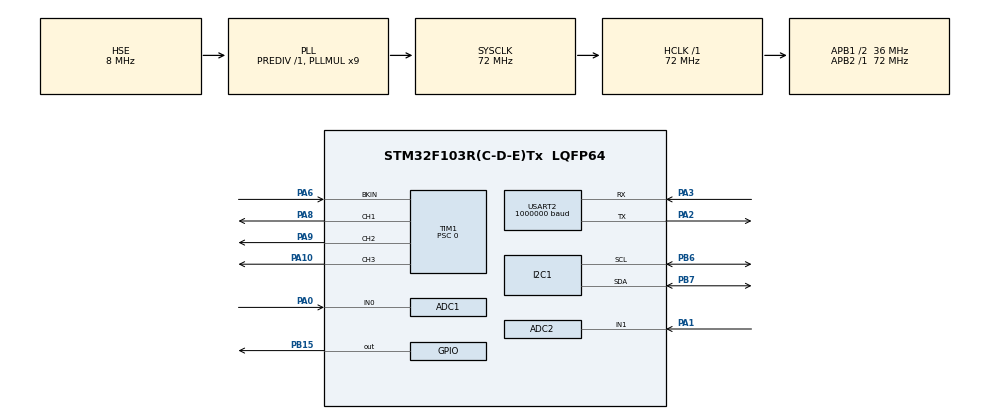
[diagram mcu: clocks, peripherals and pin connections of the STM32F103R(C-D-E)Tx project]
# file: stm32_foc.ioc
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ADC1.Channel-13\#ChannelInjectedConversion=ADC_CHANNEL_0
ADC1.Channel-IN0=ADC_CHANNEL_0
ADC1.ContinuousConvMode=DISABLE
ADC1.DataAlign=ADC_DATAALIGN_RIGHT
ADC1.DiscontinuousConvMode=DISABLE
ADC1.EnableInjectedConversion=ENABLE
ADC1.EnableRegularConversion=DISABLE
ADC1.ExternalTrigInjecConv=ADC_EXTERNALTRIGINJECCONV_T1_TRGO
ADC1.InjNumberOfConversion=1
ADC1.InjectedOffset-13\#ChannelInjectedConversion=0
ADC1.InjectedRank-13\#ChannelInjectedConversion=1
ADC1.Mode=ADC_DUALMODE_INJECSIMULT
ADC1.SamplingTime-13\#ChannelInjectedConversion=ADC_SAMPLETIME_1CYCLE_5
ADC1.ScanConvMode=ADC_SCAN_DISABLE
ADC1.master=1
ADC2.Channel-2\#ChannelInjectedConversion=ADC_CHANNEL_1
ADC2.ContinuousConvMode=DISABLE
ADC2.EnableInjectedConversion=ENABLE
ADC2.EnableRegularConversion=DISABLE
ADC2.InjNumberOfConversion=1
ADC2.InjectedOffset-2\#ChannelInjectedConversion=0
ADC2.InjectedRank-2\#ChannelInjectedConversion=1
ADC2.Mode=ADC_DUALMODE_INJECSIMULT
ADC2.SamplingTime-2\#ChannelInjectedConversion=ADC_SAMPLETIME_1CYCLE_5
I2C1.I2C_Mode=I2C_Fast
Mcu.Family=STM32F1
Mcu.Name=STM32F103R(C-D-E)Tx
Mcu.Package=LQFP64
Mcu.UserConstants=pwm_counter_period,(72*1000000/motor_pwm_freq);speed_calc_freq,motor_speed_calc_freq;angle_calc_freq,1300
NVIC.PriorityGroup=NVIC_PRIORITYGROUP_4
NVIC.TIM6_IRQn=true\:1\:0\:true\:false\:true\:true\:true\:true
NVIC.TIM7_IRQn=true\:1\:0\:true\:false\:true\:true\:true\:true
PA0-WKUP.Signal=ADCx_IN0
PA1.Signal=ADCx_IN1
PA10.Signal=S_TIM1_CH3
PA13.Mode=Serial_Wire
PA13.Signal=SYS_JTMS-SWDIO
PA14.Mode=Serial_Wire
PA14.Signal=SYS_JTCK-SWCLK
PA2.Mode=Asynchronous
PA2.Signal=USART2_TX
PA3.Mode=Asynchronous
PA3.Signal=USART2_RX
PA6.Mode=Activate-Break-Input
PA6.Signal=TIM1_BKIN
PA8.Signal=S_TIM1_CH1
PA9.Signal=S_TIM1_CH2
PB15.Signal=GPIO_Output
PB6.Mode=I2C
PB6.Signal=I2C1_SCL
PB7.Mode=I2C
PB7.Signal=I2C1_SDA
PD0-OSC_IN.Mode=HSE-External-Oscillator
PD0-OSC_IN.Signal=RCC_OSC_IN
PD1-OSC_OUT.Mode=HSE-External-Oscillator
PD1-OSC_OUT.Signal=RCC_OSC_OUT
ProjectManager.HeapSize=0x800
ProjectManager.StackSize=0x1000
ProjectManager.TargetToolchain=CMake
RCC.ADCPresc=RCC_ADCPCLK2_DIV6
RCC.AHBFreq_Value=72000000
RCC.APB1CLKDivider=RCC_HCLK_DIV2
RCC.APB1Freq_Value=36000000
RCC.APB1TimFreq_Value=72000000
RCC.APB2Freq_Value=72000000
RCC.APB2TimFreq_Value=72000000
RCC.HCLKFreq_Value=72000000
RCC.PLLMUL=RCC_PLL_MUL9
RCC.PLLSourceVirtual=RCC_PLLSOURCE_HSE
RCC.SYSCLKFreq_VALUE=72000000
RCC.SYSCLKSource=RCC_SYSCLKSOURCE_PLLCLK
RCC.USBFreq_Value=72000000
SH.ADCx_IN0.0=ADC1_IN0,IN0
SH.ADCx_IN1.0=ADC2_IN1,IN1
SH.S_TIM1_CH1.0=TIM1_CH1,PWM Generation1 CH1
SH.S_TIM1_CH2.0=TIM1_CH2,PWM Generation2 CH2
SH.S_TIM1_CH3.0=TIM1_CH3,PWM Generation3 CH3
STMicroelectronics.X-CUBE-ALGOBUILD.1.4.0.LibraryCcDSPOoLibraryJjDSPOoLibrary=true
TIM1.AutoReloadPreload=TIM_AUTORELOAD_PRELOAD_ENABLE
TIM1.AutomaticOutput=TIM_AUTOMATICOUTPUT_DISABLE
TIM1.BreakPolarity=TIM_BREAKPOLARITY_LOW
TIM1.BreakState=TIM_BREAK_DISABLE
TIM1.Channel-PWM\ Generation1\ CH1=TIM_CHANNEL_1
TIM1.Channel-PWM\ Generation2\ CH2=TIM_CHANNEL_2
TIM1.Channel-PWM\ Generation3\ CH3=TIM_CHANNEL_3
TIM1.ClockDivision=TIM_CLOCKDIVISION_DIV1
TIM1.CounterMode=TIM_COUNTERMODE_CENTERALIGNED3
TIM1.LockLevel=TIM_LOCKLEVEL_1
TIM1.OC1Preload_PWM=ENABLE
TIM1.OC2Preload_PWM=ENABLE
TIM1.OC3Preload_PWM=ENABLE
TIM1.OCIdleState_1=TIM_OCIDLESTATE_RESET
TIM1.OCIdleState_2=TIM_OCIDLESTATE_RESET
TIM1.OCIdleState_3=TIM_OCIDLESTATE_RESET
TIM1.OCMode_PWM-PWM\ Generation1\ CH1=TIM_OCMODE_PWM1
TIM1.OCMode_PWM-PWM\ Generation2\ CH2=TIM_OCMODE_PWM1
TIM1.OCMode_PWM-PWM\ Generation3\ CH3=TIM_OCMODE_PWM1
TIM1.OCPolarity_1=TIM_OCPOLARITY_HIGH
TIM1.OCPolarity_2=TIM_OCPOLARITY_HIGH
TIM1.OCPolarity_3=TIM_OCPOLARITY_HIGH
TIM1.OffStateIDLEMode=TIM_OSSI_DISABLE
TIM1.OffStateRunMode=TIM_OSSR_DISABLE
TIM1.Period=pwm_counter_period-1
TIM1.Prescaler=0
TIM1.RepetitionCounter=0
TIM1.TIM_MasterOutputTrigger=TIM_TRGO_UPDATE
TIM1.TIM_MasterSlaveMode=TIM_MASTERSLAVEMODE_DISABLE
TIM6.Period=1000000/angle_calc_freq
TIM6.Prescaler=72
TIM7.Period=1000000/speed_calc_freq
TIM7.Prescaler=72
USART2.BaudRate=1000000
USART2.VirtualMode=VM_ASYNC
VP_STMicroelectronics.X-CUBE-ALGOBUILD_VS_DSPOoLibraryJjLibrary_1.4.0_1.4.0.Mode=DSPOoLibraryJjLibrary
VP_TIM1_VS_ClockSourceINT.Mode=Internal
VP_TIM6_VS_ClockSourceINT.Mode=Enable_Timer
VP_TIM7_VS_ClockSourceINT.Mode=Enable_Timer
board=custom

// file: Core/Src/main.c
/* USER CODE BEGIN Header */
/**
 ******************************************************************************
 * @file           : main.c
 * @brief          : Main program body
 ******************************************************************************
 * @attention
 *
 * Copyright (c) 2024 STMicroelectronics.
 * All rights reserved.
 *
 * This software is licensed under terms that can be found in the LICENSE file
 * in the root directory of this software component.
 * If no LICENSE file comes with this software, it is provided AS-IS.
 *
 ******************************************************************************
 */
/* USER CODE END Header */
#include "main.h"
#include "adc.h"
#include "i2c.h"
#include "tim.h"
#include "usart.h"
#include "gpio.h"

/* USER CODE BEGIN Includes */
#include "motor/foc.h"
#include "arm_math.h"
#include "global_def.h"
#include "motor/motor_runtime_param.h"
#include <stdio.h>
#include "motor/conf.h"
/* USER CODE END Includes */

void SystemClock_Config(void);

/* USER CODE BEGIN 0 */
void set_pwm_duty(float d_u, float d_v, float d_w)
{
  __disable_irq();
  __HAL_TIM_SET_COMPARE(&htim1, TIM_CHANNEL_1, 0.995 * d_u * (pwm_counter_period - 1));
  __HAL_TIM_SET_COMPARE(&htim1, TIM_CHANNEL_2, 0.995 * d_v * (pwm_counter_period - 1));
  __HAL_TIM_SET_COMPARE(&htim1, TIM_CHANNEL_3, 0.995 * d_w * (pwm_counter_period - 1));
  __enable_irq();
}
/* USER CODE END 0 */

int main(void)
{

  /* USER CODE BEGIN 1 */
  setvbuf(stdout, NULL, _IONBF, 0);
  /* USER CODE END 1 */

  /* MCU Configuration--------------------------------------------------------*/

  /* Reset of all peripherals, Initializes the Flash interface and the Systick. */
  HAL_Init();

  /* Configure the system clock */
  SystemClock_Config();

  /* Initialize all configured peripherals */
  MX_GPIO_Init();
  MX_ADC1_Init();
  MX_TIM1_Init();
  MX_USART2_UART_Init();
  MX_TIM6_Init();
  MX_TIM7_Init();
  MX_ADC2_Init();
  MX_I2C1_Init();
  /* USER CODE BEGIN 2 */
  set_motor_pid(
      // 3.25, 0, 13,
      1, 0, 8,
      0.011, 0.0001, 0,
      1, 0.1, 0,
      1, 0.1, 0);
  HAL_TIM_PWM_Start(&htim1, TIM_CHANNEL_1);
  HAL_TIM_PWM_Start(&htim1, TIM_CHANNEL_2);
  HAL_TIM_PWM_Start(&htim1, TIM_CHANNEL_3);
  HAL_ADCEx_Calibration_Start(&hadc1);
  HAL_ADCEx_Calibration_Start(&hadc2);
  HAL_ADCEx_InjectedStart_IT(&hadc1);
  HAL_ADCEx_InjectedStart(&hadc2);
  HAL_TIM_Base_Start_IT(&htim6);
  HAL_TIM_Base_Start_IT(&htim7);
  HAL_Delay(50);
  set_pwm_duty(0.5, 0, 0);
  HAL_Delay(400);
  rotor_zero_angle = motor_logic_angle;
  set_pwm_duty(0, 0, 0);
  HAL_Delay(200);

  motor_control_context.max_speed = deg2rad(90);
  motor_control_context.max_torque_norm = 0.3;
  motor_control_context.position = deg2rad(90);
  motor_control_context.speed = 5 * 2 * PI;
  motor_control_context.torque_norm_d = 0;
  motor_control_context.torque_norm_q = 0.1;
  // motor_control_context.type = control_type_position;
  // motor_control_context.type = control_type_speed;
  // motor_control_context.type = control_type_torque;
  // motor_control_context.type = control_type_speed_torque;
  // motor_control_context.type = control_type_position_speed_torque;
  /* USER CODE END 2 */

  /* Infinite loop */
  /* USER CODE BEGIN WHILE */
  extern void foc(float u_d, float u_q, float rad);
  extern float diff;
  extern uint8_t iic_buffer[2];
  while (1)
  {
    /* USER CODE END WHILE */

    /* USER CODE BEGIN 3 */

    // HAL_Delay(500);
    // motor_control_context.position = init_angle + deg2rad(90);
    // HAL_Delay(500);
    // motor_control_context.position = init_angle;
    // float u_u = ADC_REFERENCE_VOLT * (uint16_t)HAL_ADCEx_InjectedGetValue(&hadc1, ADC_INJECTED_RANK_1) / ADC_SCALE - ADC_REFERENCE_VOLT / 2;
    // float u_v = ADC_REFERENCE_VOLT * (uint16_t)HAL_ADCEx_InjectedGetValue(&hadc2, ADC_INJECTED_RANK_1) / ADC_SCALE - ADC_REFERENCE_VOLT / 2;

    // printf("%f,%f\n", motor_i_d / MAX_CURRENT, motor_i_q / MAX_CURRENT);
    // printf("%f,%f,%f\n", diff, motor_i_d / MAX_CURRENT, motor_i_q / MAX_CURRENT);
    // printf("%f,%f\n", u_d, u_q);
    // motor_control_context.position = 0;
    // printf("%f,%f,%f\n", motor_i_u, motor_i_v, (-motor_i_u - motor_i_v));
    // for (float i = 0; i < 360; i += 10)
    // {
    //   foc(0, 0.5, rad2deg(i));
    //   HAL_Delay(10);
    //   printf("%f,%f\n", motor_i_u, motor_i_v);
    // }
    // lib_speed_control(deg2rad(360 * 1));
    // lib_position_control(deg2rad(80));

    // printf("%f\n", diff);
    // printf("%f\n", motor_logic_angle);
    printf("%f\n", motor_speed);
    // printf("%f\n", motor_i_q / MAX_CURRENT);
    // printf("%f,%f\n", motor_i_q / MAX_CURRENT, motor_speed);
  }
  /* USER CODE END 3 */
}

void SystemClock_Config(void)
{
  RCC_OscInitTypeDef RCC_OscInitStruct = {0};
  RCC_ClkInitTypeDef RCC_ClkInitStruct = {0};
  RCC_PeriphCLKInitTypeDef PeriphClkInit = {0};

  /** Initializes the RCC Oscillators according to the specified parameters
   * in the RCC_OscInitTypeDef structure.
   */
  RCC_OscInitStruct.OscillatorType = RCC_OSCILLATORTYPE_HSE;
  RCC_OscInitStruct.HSEState = RCC_HSE_ON;
  RCC_OscInitStruct.HSEPredivValue = RCC_HSE_PREDIV_DIV1;
  RCC_OscInitStruct.HSIState = RCC_HSI_ON;
  RCC_OscInitStruct.PLL.PLLState = RCC_PLL_ON;
  RCC_OscInitStruct.PLL.PLLSource = RCC_PLLSOURCE_HSE;
  RCC_OscInitStruct.PLL.PLLMUL = RCC_PLL_MUL9;
  if (HAL_RCC_OscConfig(&RCC_OscInitStruct) != HAL_OK)
  {
    Error_Handler();
  }

  /** Initializes the CPU, AHB and APB buses clocks
   */
  RCC_ClkInitStruct.ClockType = RCC_CLOCKTYPE_HCLK | RCC_CLOCKTYPE_SYSCLK | RCC_CLOCKTYPE_PCLK1 | RCC_CLOCKTYPE_PCLK2;
  RCC_ClkInitStruct.SYSCLKSource = RCC_SYSCLKSOURCE_PLLCLK;
  RCC_ClkInitStruct.AHBCLKDivider = RCC_SYSCLK_DIV1;
  RCC_ClkInitStruct.APB1CLKDivider = RCC_HCLK_DIV2;
  RCC_ClkInitStruct.APB2CLKDivider = RCC_HCLK_DIV1;

  if (HAL_RCC_ClockConfig(&RCC_ClkInitStruct, FLASH_LATENCY_2) != HAL_OK)
  {
    Error_Handler();
  }
  PeriphClkInit.PeriphClockSelection = RCC_PERIPHCLK_ADC;
  PeriphClkInit.AdcClockSelection = RCC_ADCPCLK2_DIV6;
  if (HAL_RCCEx_PeriphCLKConfig(&PeriphClkInit) != HAL_OK)
  {
    Error_Handler();
  }
}

void Error_Handler(void)
{
  __disable_irq();
  while (1)
  {
  }
}
